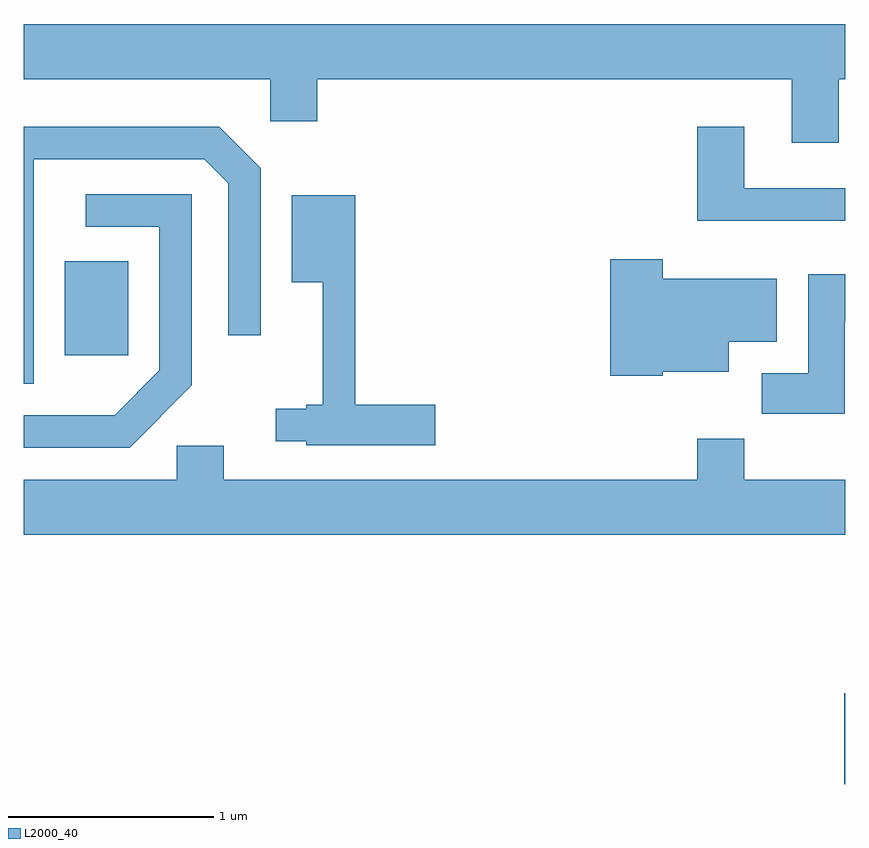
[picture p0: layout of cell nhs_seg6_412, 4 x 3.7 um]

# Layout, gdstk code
import gdstk
lib = gdstk.Library(unit=1e-6, precision=1e-09)
def R(c, l, rs):  # rectangles x0, y0, x1, y1
    for r in rs: c.add(gdstk.rectangle(r[:2], r[2:], *l))
def P(c, l, *ps):  # polygons
    for p in ps: c.add(gdstk.Polygon(p, *l))
L2000_40 = (2000, 40)

nhs_seg6_412 = lib.new_cell('nhs_seg6_412')
R(nhs_seg6_412, L2000_40, [(201.606,1542.162,201.611,1542.604), (197.811,1544.251,198.119,1544.709)])
P(nhs_seg6_412, L2000_40, [(201.579,1545.596),(201.611,1545.596),(201.611,1545.864),(197.611,1545.864),(197.611,1545.596),(198.811,1545.596),(198.811,1545.391),(199.039,1545.391),(199.039,1545.596),(201.351,1545.596),(201.351,1545.286),(201.579,1545.286)],
  [(201.611,1545.064),(201.119,1545.064),(201.119,1545.364),(200.891,1545.364),(200.891,1544.906),(201.611,1544.906)],
  [(197.659,1545.206),(198.489,1545.206),(198.606,1545.089),(198.606,1544.348),(198.764,1544.348),(198.764,1545.162),(198.562,1545.364),(197.611,1545.364),(197.611,1544.111),(197.659,1544.111)],
  [(198.429,1544.104),(198.429,1545.034),(197.913,1545.034),(197.913,1544.876),(198.271,1544.876),(198.271,1544.177),(198.054,1543.959),(197.611,1543.959),(197.611,1543.801),(198.127,1543.801)],
  [(199.614,1544.009),(199.224,1544.009),(199.224,1545.029),(198.916,1545.029),(198.916,1544.606),(199.066,1544.606),(199.066,1544.009),(198.986,1544.009),(198.986,1543.989),(198.838,1543.989),(198.838,1543.831),(198.986,1543.831),(198.986,1543.811),(199.614,1543.811)],
  [(200.724,1544.171),(201.044,1544.171),(201.044,1544.316),(201.279,1544.316),(201.279,1544.624),(200.724,1544.624),(200.724,1544.719),(200.466,1544.719),(200.466,1544.151),(200.724,1544.151)],
  [(201.609,1544.416),(201.611,1544.416),(201.611,1544.644),(201.431,1544.644),(201.431,1544.164),(201.206,1544.164),(201.206,1543.966),(201.609,1543.966)],
  [(201.611,1543.644),(201.119,1543.644),(201.119,1543.844),(200.891,1543.844),(200.891,1543.644),(198.584,1543.644),(198.584,1543.809),(198.356,1543.809),(198.356,1543.644),(197.611,1543.644),(197.611,1543.376),(201.611,1543.376)])

lib.write_gds('nhs_seg6_412.gds')
